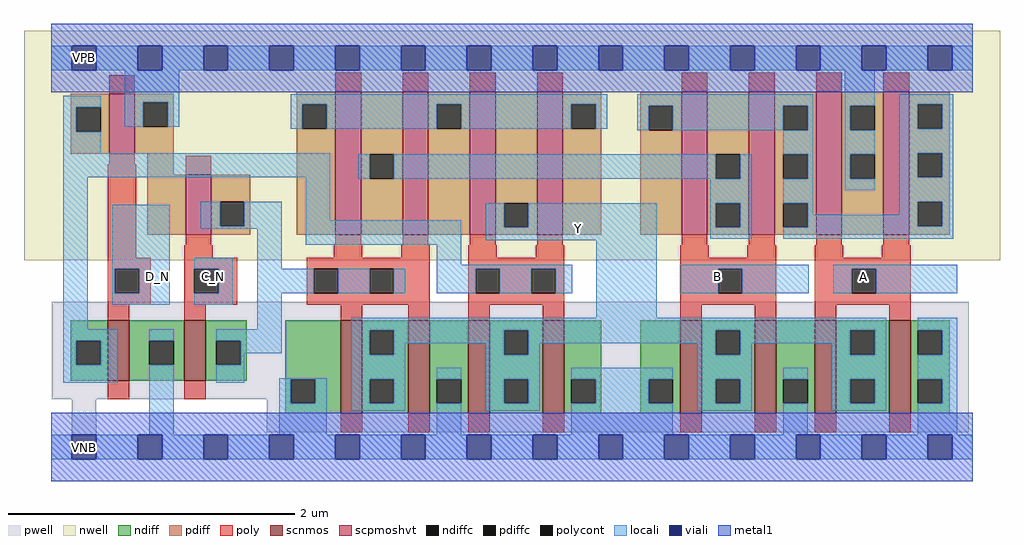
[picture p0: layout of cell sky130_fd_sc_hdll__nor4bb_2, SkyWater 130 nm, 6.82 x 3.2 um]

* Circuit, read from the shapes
.subckt sky130_fd_sc_hdll__nor4bb_2 A B C_N D_N VGND VNB VPB VPWR Y
XM1 VGND D_N n1 VNB sky130_fd_pr__nfet_01v8 w=0.42 l=0.15
XM2 n2 C_N VGND VNB sky130_fd_pr__nfet_01v8 w=0.42 l=0.15
XM3 Y n2 VGND VNB sky130_fd_pr__nfet_01v8 w=0.65 l=0.15 m=2
XM4 Y n1 VGND VNB sky130_fd_pr__nfet_01v8 w=0.65 l=0.15 m=2
XM5 Y B VGND VNB sky130_fd_pr__nfet_01v8 w=0.65 l=0.15 m=2
XM6 Y A VGND VNB sky130_fd_pr__nfet_01v8 w=0.65 l=0.15 m=2
XM7 VPWR D_N n1 VPB sky130_fd_pr__pfet_01v8_hvt w=0.42 l=0.18
XM8 n2 C_N VPWR VPB sky130_fd_pr__pfet_01v8_hvt w=0.42 l=0.18
XM9 n3 n2 n4 VPB sky130_fd_pr__pfet_01v8_hvt w=1 l=0.18 m=2
XM10 Y n1 n4 VPB sky130_fd_pr__pfet_01v8_hvt w=1 l=0.18 m=2
XM11 n3 B n5 VPB sky130_fd_pr__pfet_01v8_hvt w=1 l=0.18 m=2
XM12 VPWR A n5 VPB sky130_fd_pr__pfet_01v8_hvt w=1 l=0.18 m=2
.ends

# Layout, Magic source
magic
tech sky130A
magscale 1 2
<< nwell >>
rect -38 261 1326 582
<< pwell >>
rect 1 67 1282 203
rect 29 -17 63 67
rect 301 21 1282 67
<< scnmos >>
rect 79 93 109 177
rect 186 93 216 177
rect 405 47 435 177
rect 499 47 529 177
rect 583 47 613 177
rect 687 47 717 177
rect 879 47 909 177
rect 983 47 1013 177
rect 1067 47 1097 177
rect 1171 47 1201 177
<< scpmoshvt >>
rect 81 410 117 494
rect 188 297 224 381
rect 397 297 433 497
rect 491 297 527 497
rect 585 297 621 497
rect 679 297 715 497
rect 881 297 917 497
rect 975 297 1011 497
rect 1069 297 1105 497
rect 1163 297 1199 497
<< ndiff >>
rect 27 149 79 177
rect 27 115 35 149
rect 69 115 79 149
rect 27 93 79 115
rect 109 149 186 177
rect 109 115 137 149
rect 171 115 186 149
rect 109 93 186 115
rect 216 149 273 177
rect 216 115 231 149
rect 265 115 273 149
rect 216 93 273 115
rect 327 95 405 177
rect 327 61 335 95
rect 369 61 405 95
rect 327 47 405 61
rect 435 163 499 177
rect 435 129 445 163
rect 479 129 499 163
rect 435 95 499 129
rect 435 61 445 95
rect 479 61 499 95
rect 435 47 499 61
rect 529 95 583 177
rect 529 61 539 95
rect 573 61 583 95
rect 529 47 583 61
rect 613 163 687 177
rect 613 129 633 163
rect 667 129 687 163
rect 613 95 687 129
rect 613 61 633 95
rect 667 61 687 95
rect 613 47 687 61
rect 717 95 769 177
rect 717 61 727 95
rect 761 61 769 95
rect 717 47 769 61
rect 823 95 879 177
rect 823 61 835 95
rect 869 61 879 95
rect 823 47 879 61
rect 909 163 983 177
rect 909 129 929 163
rect 963 129 983 163
rect 909 95 983 129
rect 909 61 929 95
rect 963 61 983 95
rect 909 47 983 61
rect 1013 95 1067 177
rect 1013 61 1023 95
rect 1057 61 1067 95
rect 1013 47 1067 61
rect 1097 163 1171 177
rect 1097 129 1117 163
rect 1151 129 1171 163
rect 1097 95 1171 129
rect 1097 61 1117 95
rect 1151 61 1171 95
rect 1097 47 1171 61
rect 1201 163 1256 177
rect 1201 129 1211 163
rect 1245 129 1256 163
rect 1201 95 1256 129
rect 1201 61 1211 95
rect 1245 61 1256 95
rect 1201 47 1256 61
<< pdiff >>
rect 27 475 81 494
rect 27 441 35 475
rect 69 441 81 475
rect 27 410 81 441
rect 117 482 171 494
rect 117 448 129 482
rect 163 448 171 482
rect 117 410 171 448
rect 134 381 171 410
rect 343 479 397 497
rect 343 445 351 479
rect 385 445 397 479
rect 134 297 188 381
rect 224 343 278 381
rect 224 309 236 343
rect 270 309 278 343
rect 224 297 278 309
rect 343 297 397 445
rect 433 409 491 497
rect 433 375 445 409
rect 479 375 491 409
rect 433 297 491 375
rect 527 479 585 497
rect 527 445 539 479
rect 573 445 585 479
rect 527 297 585 445
rect 621 341 679 497
rect 621 307 633 341
rect 667 307 679 341
rect 621 297 679 307
rect 715 479 769 497
rect 715 445 727 479
rect 761 445 769 479
rect 715 297 769 445
rect 823 477 881 497
rect 823 443 835 477
rect 869 443 881 477
rect 823 297 881 443
rect 917 409 975 497
rect 917 375 929 409
rect 963 375 975 409
rect 917 341 975 375
rect 917 307 929 341
rect 963 307 975 341
rect 917 297 975 307
rect 1011 477 1069 497
rect 1011 443 1023 477
rect 1057 443 1069 477
rect 1011 409 1069 443
rect 1011 375 1023 409
rect 1057 375 1069 409
rect 1011 341 1069 375
rect 1011 307 1023 341
rect 1057 307 1069 341
rect 1011 297 1069 307
rect 1105 477 1163 497
rect 1105 443 1117 477
rect 1151 443 1163 477
rect 1105 409 1163 443
rect 1105 375 1117 409
rect 1151 375 1163 409
rect 1105 297 1163 375
rect 1199 479 1256 497
rect 1199 445 1211 479
rect 1245 445 1256 479
rect 1199 411 1256 445
rect 1199 377 1211 411
rect 1245 377 1256 411
rect 1199 343 1256 377
rect 1199 309 1211 343
rect 1245 309 1256 343
rect 1199 297 1256 309
<< ndiffc >>
rect 35 115 69 149
rect 137 115 171 149
rect 231 115 265 149
rect 335 61 369 95
rect 445 129 479 163
rect 445 61 479 95
rect 539 61 573 95
rect 633 129 667 163
rect 633 61 667 95
rect 727 61 761 95
rect 835 61 869 95
rect 929 129 963 163
rect 929 61 963 95
rect 1023 61 1057 95
rect 1117 129 1151 163
rect 1117 61 1151 95
rect 1211 129 1245 163
rect 1211 61 1245 95
<< pdiffc >>
rect 35 441 69 475
rect 129 448 163 482
rect 351 445 385 479
rect 236 309 270 343
rect 445 375 479 409
rect 539 445 573 479
rect 633 307 667 341
rect 727 445 761 479
rect 835 443 869 477
rect 929 375 963 409
rect 929 307 963 341
rect 1023 443 1057 477
rect 1023 375 1057 409
rect 1023 307 1057 341
rect 1117 443 1151 477
rect 1117 375 1151 409
rect 1211 445 1245 479
rect 1211 377 1245 411
rect 1211 309 1245 343
<< poly >>
rect 81 494 117 520
rect 397 497 433 523
rect 491 497 527 523
rect 585 497 621 523
rect 679 497 715 523
rect 881 497 917 523
rect 975 497 1011 523
rect 1069 497 1105 523
rect 1163 497 1199 523
rect 81 395 117 410
rect 79 265 119 395
rect 188 381 224 407
rect 188 282 224 297
rect 397 282 433 297
rect 491 282 527 297
rect 585 282 621 297
rect 679 282 715 297
rect 881 282 917 297
rect 975 282 1011 297
rect 1069 282 1105 297
rect 1163 282 1199 297
rect 186 265 226 282
rect 395 265 435 282
rect 489 265 529 282
rect 79 249 139 265
rect 79 215 89 249
rect 123 215 139 249
rect 79 199 139 215
rect 186 249 260 265
rect 186 215 200 249
rect 234 215 260 249
rect 186 199 260 215
rect 357 249 529 265
rect 357 215 367 249
rect 401 215 445 249
rect 479 215 529 249
rect 357 199 529 215
rect 79 177 109 199
rect 186 177 216 199
rect 405 177 435 199
rect 499 177 529 199
rect 583 265 623 282
rect 677 265 717 282
rect 583 249 717 265
rect 583 215 593 249
rect 627 215 671 249
rect 705 215 717 249
rect 583 199 717 215
rect 583 177 613 199
rect 687 177 717 199
rect 879 265 919 282
rect 973 265 1013 282
rect 879 249 1013 265
rect 879 215 932 249
rect 966 215 1013 249
rect 879 199 1013 215
rect 879 177 909 199
rect 983 177 1013 199
rect 1067 265 1107 282
rect 1161 265 1201 282
rect 1067 249 1201 265
rect 1067 215 1119 249
rect 1153 215 1201 249
rect 1067 199 1201 215
rect 1067 177 1097 199
rect 1171 177 1201 199
rect 79 67 109 93
rect 186 67 216 93
rect 405 21 435 47
rect 499 21 529 47
rect 583 21 613 47
rect 687 21 717 47
rect 879 21 909 47
rect 983 21 1013 47
rect 1067 21 1097 47
rect 1171 21 1201 47
<< polycont >>
rect 89 215 123 249
rect 200 215 234 249
rect 367 215 401 249
rect 445 215 479 249
rect 593 215 627 249
rect 671 215 705 249
rect 932 215 966 249
rect 1119 215 1153 249
<< locali >>
rect 0 527 29 561
rect 63 527 121 561
rect 155 527 213 561
rect 247 527 305 561
rect 339 527 397 561
rect 431 527 489 561
rect 523 527 581 561
rect 615 527 673 561
rect 707 527 765 561
rect 799 527 857 561
rect 891 527 949 561
rect 983 527 1041 561
rect 1075 527 1133 561
rect 1167 527 1225 561
rect 1259 527 1288 561
rect 17 475 69 491
rect 17 441 35 475
rect 103 482 179 527
rect 103 448 129 482
rect 163 448 179 482
rect 335 479 777 493
rect 335 445 351 479
rect 385 445 539 479
rect 573 445 727 479
rect 761 445 777 479
rect 819 477 1065 493
rect 819 443 835 477
rect 869 443 1023 477
rect 1057 443 1065 477
rect 17 411 69 441
rect 17 377 390 411
rect 1023 409 1065 443
rect 17 165 51 377
rect 85 249 166 339
rect 209 309 236 343
rect 270 309 322 343
rect 209 305 322 309
rect 85 215 89 249
rect 123 215 166 249
rect 85 199 166 215
rect 200 249 254 265
rect 234 215 254 249
rect 200 199 254 215
rect 288 249 322 305
rect 356 317 390 377
rect 429 375 445 409
rect 479 375 929 409
rect 963 375 979 409
rect 921 341 979 375
rect 356 283 573 317
rect 607 307 633 341
rect 667 307 846 341
rect 607 289 846 307
rect 921 307 929 341
rect 963 307 979 341
rect 921 291 979 307
rect 1057 375 1065 409
rect 1023 341 1065 375
rect 1109 477 1151 527
rect 1109 443 1117 477
rect 1109 409 1151 443
rect 1109 375 1117 409
rect 1109 359 1151 375
rect 1185 479 1261 493
rect 1185 445 1211 479
rect 1245 445 1261 479
rect 1185 411 1261 445
rect 1185 377 1211 411
rect 1245 377 1261 411
rect 1057 325 1065 341
rect 1185 343 1261 377
rect 1185 325 1211 343
rect 1057 309 1211 325
rect 1245 309 1261 343
rect 1057 307 1261 309
rect 1023 291 1261 307
rect 539 255 573 283
rect 539 249 728 255
rect 288 215 367 249
rect 401 215 445 249
rect 479 215 495 249
rect 539 215 593 249
rect 627 215 671 249
rect 705 215 728 249
rect 288 165 322 215
rect 762 181 846 289
rect 880 249 1059 255
rect 880 215 932 249
rect 966 215 1059 249
rect 1093 249 1266 255
rect 1093 215 1119 249
rect 1153 215 1266 249
rect 17 149 93 165
rect 17 115 35 149
rect 69 115 93 149
rect 17 90 93 115
rect 137 149 171 165
rect 137 17 171 115
rect 231 149 322 165
rect 265 131 322 149
rect 419 163 1167 181
rect 265 115 270 131
rect 231 90 270 115
rect 419 129 445 163
rect 479 145 633 163
rect 479 129 495 145
rect 319 95 385 96
rect 319 61 335 95
rect 369 61 385 95
rect 319 17 385 61
rect 419 95 495 129
rect 607 129 633 145
rect 667 145 929 163
rect 667 129 683 145
rect 419 61 445 95
rect 479 61 495 95
rect 419 51 495 61
rect 539 95 573 111
rect 539 17 573 61
rect 607 95 683 129
rect 903 129 929 145
rect 963 145 1117 163
rect 963 129 979 145
rect 607 61 633 95
rect 667 61 683 95
rect 607 51 683 61
rect 727 95 869 111
rect 761 61 835 95
rect 727 17 869 61
rect 903 95 979 129
rect 1091 129 1117 145
rect 1151 129 1167 163
rect 903 61 929 95
rect 963 61 979 95
rect 903 51 979 61
rect 1023 95 1057 111
rect 1023 17 1057 61
rect 1091 95 1167 129
rect 1091 61 1117 95
rect 1151 61 1167 95
rect 1091 51 1167 61
rect 1211 163 1266 181
rect 1245 129 1266 163
rect 1211 95 1266 129
rect 1245 61 1266 95
rect 1211 17 1266 61
rect 0 -17 29 17
rect 63 -17 121 17
rect 155 -17 213 17
rect 247 -17 305 17
rect 339 -17 397 17
rect 431 -17 489 17
rect 523 -17 581 17
rect 615 -17 673 17
rect 707 -17 765 17
rect 799 -17 857 17
rect 891 -17 949 17
rect 983 -17 1041 17
rect 1075 -17 1133 17
rect 1167 -17 1225 17
rect 1259 -17 1288 17
<< viali >>
rect 29 527 63 561
rect 121 527 155 561
rect 213 527 247 561
rect 305 527 339 561
rect 397 527 431 561
rect 489 527 523 561
rect 581 527 615 561
rect 673 527 707 561
rect 765 527 799 561
rect 857 527 891 561
rect 949 527 983 561
rect 1041 527 1075 561
rect 1133 527 1167 561
rect 1225 527 1259 561
rect 29 -17 63 17
rect 121 -17 155 17
rect 213 -17 247 17
rect 305 -17 339 17
rect 397 -17 431 17
rect 489 -17 523 17
rect 581 -17 615 17
rect 673 -17 707 17
rect 765 -17 799 17
rect 857 -17 891 17
rect 949 -17 983 17
rect 1041 -17 1075 17
rect 1133 -17 1167 17
rect 1225 -17 1259 17
<< metal1 >>
rect 0 561 1288 592
rect 0 527 29 561
rect 63 527 121 561
rect 155 527 213 561
rect 247 527 305 561
rect 339 527 397 561
rect 431 527 489 561
rect 523 527 581 561
rect 615 527 673 561
rect 707 527 765 561
rect 799 527 857 561
rect 891 527 949 561
rect 983 527 1041 561
rect 1075 527 1133 561
rect 1167 527 1225 561
rect 1259 527 1288 561
rect 0 496 1288 527
rect 0 17 1288 48
rect 0 -17 29 17
rect 63 -17 121 17
rect 155 -17 213 17
rect 247 -17 305 17
rect 339 -17 397 17
rect 431 -17 489 17
rect 523 -17 581 17
rect 615 -17 673 17
rect 707 -17 765 17
rect 799 -17 857 17
rect 891 -17 949 17
rect 983 -17 1041 17
rect 1075 -17 1133 17
rect 1167 -17 1225 17
rect 1259 -17 1288 17
rect 0 -48 1288 -17
<< labels >>
flabel locali s 132 221 166 255 0 FreeSans 400 0 0 0 D_N
port 4 nsew signal input
flabel locali s 210 221 244 255 0 FreeSans 400 0 0 0 C_N
port 3 nsew signal input
flabel locali s 1118 221 1152 255 0 FreeSans 400 180 0 0 A
port 1 nsew signal input
flabel locali s 720 289 754 323 0 FreeSans 400 180 0 0 Y
port 9 nsew signal output
flabel locali s 914 221 948 255 0 FreeSans 400 180 0 0 B
port 2 nsew signal input
flabel pwell s 29 -17 63 17 0 FreeSans 200 0 0 0 VNB
port 6 nsew ground bidirectional
flabel nwell s 29 527 63 561 0 FreeSans 200 0 0 0 VPB
port 7 nsew power bidirectional
flabel metal1 s 29 -17 63 17 0 FreeSans 200 0 0 0 VGND
port 5 nsew ground bidirectional
flabel metal1 s 29 527 63 561 0 FreeSans 200 0 0 0 VPWR
port 8 nsew power bidirectional
rlabel comment s 0 -10 0 -10 4 nor4bb_2
<< properties >>
string LEFsite unithd
string LEFclass CORE
string FIXED_BBOX 0 0 1288 544
string GDS_FILE $PDKPATH/libs.ref/sky130_fd_sc_hdll/gds/sky130_fd_sc_hdll.gds
string LEFsymmetry X Y R90
string GDS_END 1501706
string GDS_START 1492174
string LEFproperties maskLayoutSubType "abstract" prCellType "standard" originalViewName "layout"
<< end >>
